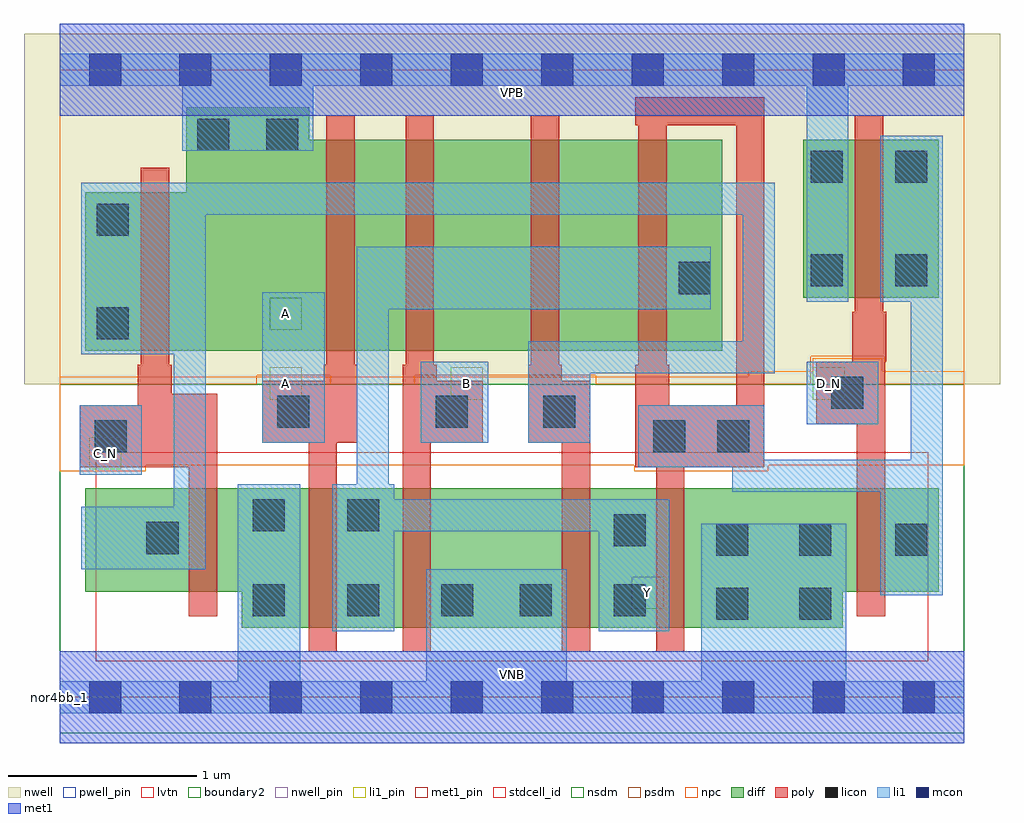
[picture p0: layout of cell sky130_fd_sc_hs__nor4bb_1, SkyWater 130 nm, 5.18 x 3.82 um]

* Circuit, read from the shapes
.subckt sky130_fd_sc_hs__nor4bb_1 A B C_N D_N VGND VNB VPB VPWR Y
XM1 VGND C_N n1 VNB sky130_fd_pr__nfet_01v8_lvt w=0.55 l=0.15
XM2 Y A VGND VNB sky130_fd_pr__nfet_01v8_lvt w=0.74 l=0.15
XM3 VGND B Y VNB sky130_fd_pr__nfet_01v8_lvt w=0.74 l=0.15
XM4 Y n1 VGND VNB sky130_fd_pr__nfet_01v8_lvt w=0.74 l=0.15
XM5 VGND n2 Y VNB sky130_fd_pr__nfet_01v8_lvt w=0.74 l=0.15
XM6 n2 D_N VGND VNB sky130_fd_pr__nfet_01v8_lvt w=0.55 l=0.15
XM7 VPWR C_N n1 VPB sky130_fd_pr__pfet_01v8 w=0.84 l=0.15
XM8 n3 A VPWR VPB sky130_fd_pr__pfet_01v8 w=1.12 l=0.15
XM9 n4 B n3 VPB sky130_fd_pr__pfet_01v8 w=1.12 l=0.15
XM10 n5 n1 n4 VPB sky130_fd_pr__pfet_01v8 w=1.12 l=0.15
XM11 Y n2 n5 VPB sky130_fd_pr__pfet_01v8 w=1.12 l=0.15
XM12 n2 D_N VPWR VPB sky130_fd_pr__pfet_01v8 w=0.84 l=0.15
.ends

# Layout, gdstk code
import gdstk
lib = gdstk.Library(unit=1e-6, precision=1e-09)
def R(c, l, rs):  # rectangles x0, y0, x1, y1
    for r in rs: c.add(gdstk.rectangle(r[:2], r[2:], *l))
def A(c, l, x, y, w, h, nx, ny, dx, dy):  # array of equal rectangles
    R(c, l, [(x+i*dx, y+j*dy, x+i*dx+w, y+j*dy+h) for i in range(nx) for j in range(ny)])
def P(c, l, *ps):  # polygons
    for p in ps: c.add(gdstk.Polygon(p, *l))
nwell_pin = (64, 16)
nwell = (64, 20)
diff = (65, 20)
poly = (66, 20)
licon = (66, 44)
li1_pin = (67, 16)
li1 = (67, 20)
mcon = (67, 44)
met1_pin = (68, 16)
met1 = (68, 20)
stdcell_id = (81, 4)
nsdm = (93, 44)
psdm = (94, 20)
npc = (95, 20)
pwell_pin = (122, 16)
lvtn = (125, 44)
boundary2 = (236, 0)

sky130_fd_sc_hs__nor4bb_ = lib.new_cell('sky130_fd_sc_hs__nor4bb_1')
R(sky130_fd_sc_hs__nor4bb_, nwell_pin, [(0,3.085,4.8,3.33)])
R(sky130_fd_sc_hs__nor4bb_, nwell, [(-0.19,1.66,4.99,3.52)])
R(sky130_fd_sc_hs__nor4bb_, diff, [(3.945,2.12,4.665,2.96)])
P(sky130_fd_sc_hs__nor4bb_, diff, [(3.515,2.96),(1.325,2.96),(1.325,3.13),(0.67,3.13),(0.67,2.68),(0.135,2.68),(0.135,1.84),(3.515,1.84)],
  [(4.665,1.11),(0.135,1.11),(0.135,0.56),(0.965,0.56),(0.965,0.37),(4.155,0.37),(4.155,0.56),(4.665,0.56)])
P(sky130_fd_sc_hs__nor4bb_, poly, [(0.835,1.61),(0.595,1.61),(0.595,1.765),(0.58,1.765),(0.58,2.81),(0.43,2.81),(0.43,1.765),(0.415,1.765),(0.415,1.55),(0.105,1.55),(0.105,1.22),(0.685,1.22),(0.685,0.43),(0.835,0.43)],
  [(1.58,1.765),(1.565,1.765),(1.565,3.09),(1.415,3.09),(1.415,1.765),(1.4,1.765),(1.4,1.68),(1.075,1.68),(1.075,1.35),(1.32,1.35),(1.32,0.24),(1.47,0.24),(1.47,1.35),(1.58,1.35)],
  [(2.245,1.68),(2,1.68),(2,1.765),(1.985,1.765),(1.985,3.09),(1.835,3.09),(1.835,1.765),(1.82,1.765),(1.82,0.24),(1.97,0.24),(1.97,1.35),(2.245,1.35)],
  [(2.815,1.68),(2.665,1.68),(2.665,1.765),(2.65,1.765),(2.65,3.09),(2.5,3.09),(2.5,1.765),(2.485,1.765),(2.485,1.35),(2.665,1.35),(2.665,0.24),(2.815,0.24)],
  [(3.74,3.185),(3.59,3.185),(3.59,1.55),(3.235,1.55),(3.235,1.765),(3.22,1.765),(3.22,3.035),(3.59,3.035),(3.59,3.185),(3.055,3.185),(3.055,3.035),(3.07,3.035),(3.07,1.765),(3.055,1.765),(3.055,1.22),(3.165,1.22),(3.165,0.24),(3.315,0.24),(3.315,1.22),(3.74,1.22)],
  [(4.385,2.045),(4.37,2.045),(4.37,3.09),(4.22,3.09),(4.22,2.045),(4.205,2.045),(4.205,1.78),(4.015,1.78),(4.015,1.45),(4.23,1.45),(4.23,0.43),(4.38,0.43),(4.38,1.78),(4.385,1.78)])
A(sky130_fd_sc_hs__nor4bb_, licon, 1.025, 0.43, 0.17, 0.17, 3, 1, 0.5, 0)
R(sky130_fd_sc_hs__nor4bb_, licon, [(3.485,0.41,3.655,0.58), (3.925,0.41,4.095,0.58), (2.44,0.43,2.61,0.6), (2.94,0.43,3.11,0.6), (3.485,0.75,3.655,0.92), (3.925,0.75,4.095,0.92), (4.435,0.75,4.605,0.92), (0.46,0.76,0.63,0.93), (2.94,0.8,3.11,0.97), (1.025,0.88,1.195,1.05), (1.525,0.88,1.695,1.05), (0.185,1.3,0.355,1.47), (3.15,1.3,3.32,1.47), (3.49,1.3,3.66,1.47), (1.155,1.43,1.325,1.6), (1.995,1.43,2.165,1.6), (2.565,1.43,2.735,1.6), (4.095,1.53,4.265,1.7), (0.195,1.9,0.365,2.07), (3.285,2.14,3.455,2.31), (3.985,2.18,4.155,2.35), (4.435,2.18,4.605,2.35), (0.195,2.45,0.365,2.62), (3.985,2.73,4.155,2.9), (4.435,2.73,4.605,2.9), (0.73,2.9,0.9,3.07), (1.095,2.9,1.265,3.07)])
R(sky130_fd_sc_hs__nor4bb_, li1_pin, [(3.035,0.47,3.205,0.64), (0.155,1.21,0.325,1.38), (1.115,1.58,1.285,1.75), (2.075,1.58,2.245,1.75), (3.995,1.58,4.165,1.75), (1.115,1.95,1.285,2.12)])
R(sky130_fd_sc_hs__nor4bb_, li1, [(0.105,1.18,0.435,1.55), (1.075,1.35,1.405,2.15), (1.915,1.35,2.275,1.78), (3.965,1.45,4.345,1.78)])
P(sky130_fd_sc_hs__nor4bb_, li1, [(4.685,2.98),(4.355,2.98),(4.355,2.1),(4.515,2.1),(4.515,1.26),(3.74,1.26),(3.74,1.55),(3.07,1.55),(3.07,1.22),(3.57,1.22),(3.57,1.09),(4.355,1.09),(4.355,0.54),(4.685,0.54)],
  [(3.455,2.39),(1.575,2.39),(1.575,1.13),(1.445,1.13),(1.445,0.35),(1.775,0.35),(1.775,0.88),(2.86,0.88),(2.86,0.35),(3.235,0.35),(3.235,1.05),(1.775,1.05),(1.775,1.13),(1.745,1.13),(1.745,2.06),(3.455,2.06)],
  [(3.795,2.73),(0.115,2.73),(0.115,1.82),(0.605,1.82),(0.605,1.01),(0.115,1.01),(0.115,0.68),(0.775,0.68),(0.775,2.56),(3.625,2.56),(3.625,1.89),(2.485,1.89),(2.485,1.35),(2.815,1.35),(2.815,1.72),(3.795,1.72)],
  [(4.8,3.415),(0,3.415),(0,3.245),(0.65,3.245),(0.65,2.9),(1.345,2.9),(1.345,3.245),(3.965,3.245),(3.965,2.1),(4.185,2.1),(4.185,3.245),(4.8,3.245)],
  [(4.8,0.085),(4.175,0.085),(4.175,0.92),(3.405,0.92),(3.405,0.085),(2.69,0.085),(2.69,0.68),(1.945,0.68),(1.945,0.085),(1.275,0.085),(1.275,1.13),(0.945,1.13),(0.945,0.085),(0,0.085),(0,-0.085),(4.8,-0.085)])
A(sky130_fd_sc_hs__nor4bb_, mcon, 0.155, -0.085, 0.17, 0.17, 10, 2, 0.48, 3.33)
R(sky130_fd_sc_hs__nor4bb_, met1_pin, [(0,0,4.8,0.245), (0,3.085,4.8,3.33)])
R(sky130_fd_sc_hs__nor4bb_, met1, [(0,-0.245,4.8,0.245), (0,3.085,4.8,3.575)])
R(sky130_fd_sc_hs__nor4bb_, stdcell_id, [(0,0,4.8,3.33)])
R(sky130_fd_sc_hs__nor4bb_, nsdm, [(0,-0.19,4.8,1.66)])
P(sky130_fd_sc_hs__nor4bb_, psdm, [(4.8,3.52),(0,3.52),(0,1.66),(1.045,1.66),(1.045,1.71),(1.435,1.71),(1.435,1.66),(1.885,1.66),(1.885,1.71),(2.845,1.71),(2.845,1.66),(3.985,1.66),(3.985,1.81),(4.375,1.81),(4.375,1.66),(4.8,1.66)])
P(sky130_fd_sc_hs__nor4bb_, npc, [(4.8,1.73),(4.365,1.73),(4.365,1.8),(3.995,1.8),(3.995,1.73),(3.655,1.73),(3.655,1.7),(0,1.7),(0,1.2),(0.455,1.2),(0.455,1.23),(3.05,1.23),(3.05,1.2),(3.76,1.2),(3.76,1.23),(4.8,1.23)])
R(sky130_fd_sc_hs__nor4bb_, pwell_pin, [(0,0,4.8,0.245)])
R(sky130_fd_sc_hs__nor4bb_, lvtn, [(0.19,0.19,4.61,1.3)])
R(sky130_fd_sc_hs__nor4bb_, boundary2, [(0,0,4.8,3.33)])
sky130_fd_sc_hs__nor4bb_.add(gdstk.Label('nor4bb_1', (0,0), layer=83, texttype=44))
sky130_fd_sc_hs__nor4bb_.add(gdstk.Label('VNB', (2.4,0.123), layer=64, texttype=59))
sky130_fd_sc_hs__nor4bb_.add(gdstk.Label('VPB', (2.4,3.208), layer=64, texttype=5))
sky130_fd_sc_hs__nor4bb_.add(gdstk.Label('VPWR', (2.4,3.208), layer=68, texttype=5))
sky130_fd_sc_hs__nor4bb_.add(gdstk.Label('VGND', (2.4,0.123), layer=68, texttype=5))
sky130_fd_sc_hs__nor4bb_.add(gdstk.Label('D_N', (4.08,1.665), layer=67, texttype=5))
sky130_fd_sc_hs__nor4bb_.add(gdstk.Label('C_N', (0.24,1.295), layer=67, texttype=5))
sky130_fd_sc_hs__nor4bb_.add(gdstk.Label('B', (2.16,1.665), layer=67, texttype=5))
sky130_fd_sc_hs__nor4bb_.add(gdstk.Label('A', (1.2,1.665), layer=67, texttype=5))
sky130_fd_sc_hs__nor4bb_.add(gdstk.Label('A', (1.2,2.035), layer=67, texttype=5))
sky130_fd_sc_hs__nor4bb_.add(gdstk.Label('Y', (3.12,0.555), layer=67, texttype=5))

lib.write_gds('sky130_fd_sc_hs__nor4bb_1.gds')
